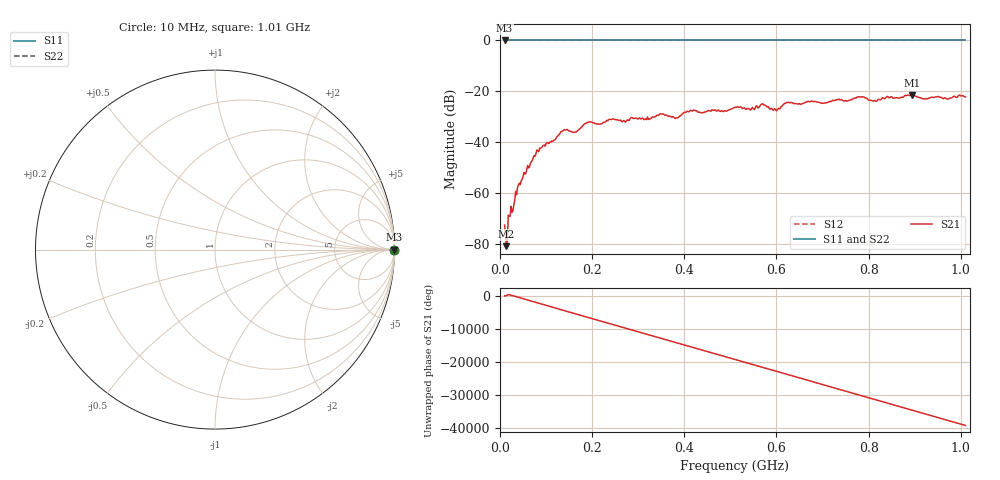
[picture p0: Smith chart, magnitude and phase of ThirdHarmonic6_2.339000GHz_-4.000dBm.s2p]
! 8/17/2025 3:26:28 AM
! C:\ANRITSUVNA\TEMP\TEMP.S2P
! CHANNEL.1
! TR.MEASUREMENT
! RAW.DATA
! RF.CORRECTION.OFF
! AVERAGING.OFF
! IF.BANDWIDTH: 5KHZ
! SWEEPTYPE:  FREQ.SWEEP(Linear)
! Reference Plane Port Info
! PORT:  PORT1  PORT2
! DISTANCE:  0  m  0  m
! TIME:  0  s  0  s
! PHASE.OFFSET:  0  deg.  0  deg.
! LOSS:  0  dB  0  dB
! REF.LOSS:  0  dB  0  dB
! REF.FREQ:  0  Hz  0  Hz
! Power Info
! POWER:  -20  dBm  -20  dBm
! EFF.POWER:  -20  dBm  -20  dBm
! SOURCE.ATTEN:  0  dB  0  dB
! TEST.ATTEN:  0  dB  0  dB
# GHZ S RI R 50.0
! FREQ.GHZ  S11RE  S11IM  S21RE  S21IM  S12RE  S12IM  S22RE  S22IM
!; PortSelection: Port_12
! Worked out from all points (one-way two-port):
!   501 points, 10 MHz to 1.01 GHz, reference 50 ohm
!   highest |S21| = -21.42 dB at 894 MHz (marker M1); lowest = -80.9 dB at 14 MHz (marker M2)
!   lowest |S11| = 0.0 dB at 10 MHz (marker M3)
!   |S11| at or under -10 dB: nowhere
!   |S22| runs from 0.0 to 0.0 dB; largest |S21 - S12| = 1.1
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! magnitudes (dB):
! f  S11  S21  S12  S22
! 10 MHz  0.0  -72.6  0.0  0.0
! 14 MHz  0.0  -80.9  0.0  0.0
! 18 MHz  0.0  -68.7  0.0  0.0
! 22 MHz  0.0  -69.1  0.0  0.0
! 38 MHz  0.0  -57.7  0.0  0.0
! 78 MHz  0.0  -44.5  0.0  0.0
! 136 MHz  0.0  -35.6  0.0  0.0
! 162 MHz  0.0  -36.0  0.0  0.0
! 178 MHz  0.0  -33.9  0.0  0.0
! 194 MHz  0.0  -31.9  0.0  0.0
! 344 MHz  0.0  -29.5  0.0  0.0
! 382 MHz  0.0  -30.4  0.0  0.0
! 416 MHz  0.0  -27.7  0.0  0.0
! 510 MHz  0.0  -26.3  0.0  0.0
! 548 MHz  0.0  -26.3  0.0  0.0
! 570 MHz  0.0  -24.9  0.0  0.0
! 596 MHz  0.0  -26.8  0.0  0.0
! 622 MHz  0.0  -24.4  0.0  0.0
! 678 MHz  0.0  -23.9  0.0  0.0
! 844 MHz  0.0  -22.5  0.0  0.0
! 894 MHz  0.0  -21.4  0.0  0.0
! 1.01 GHz  0.0  -22.2  0.0  0.0
